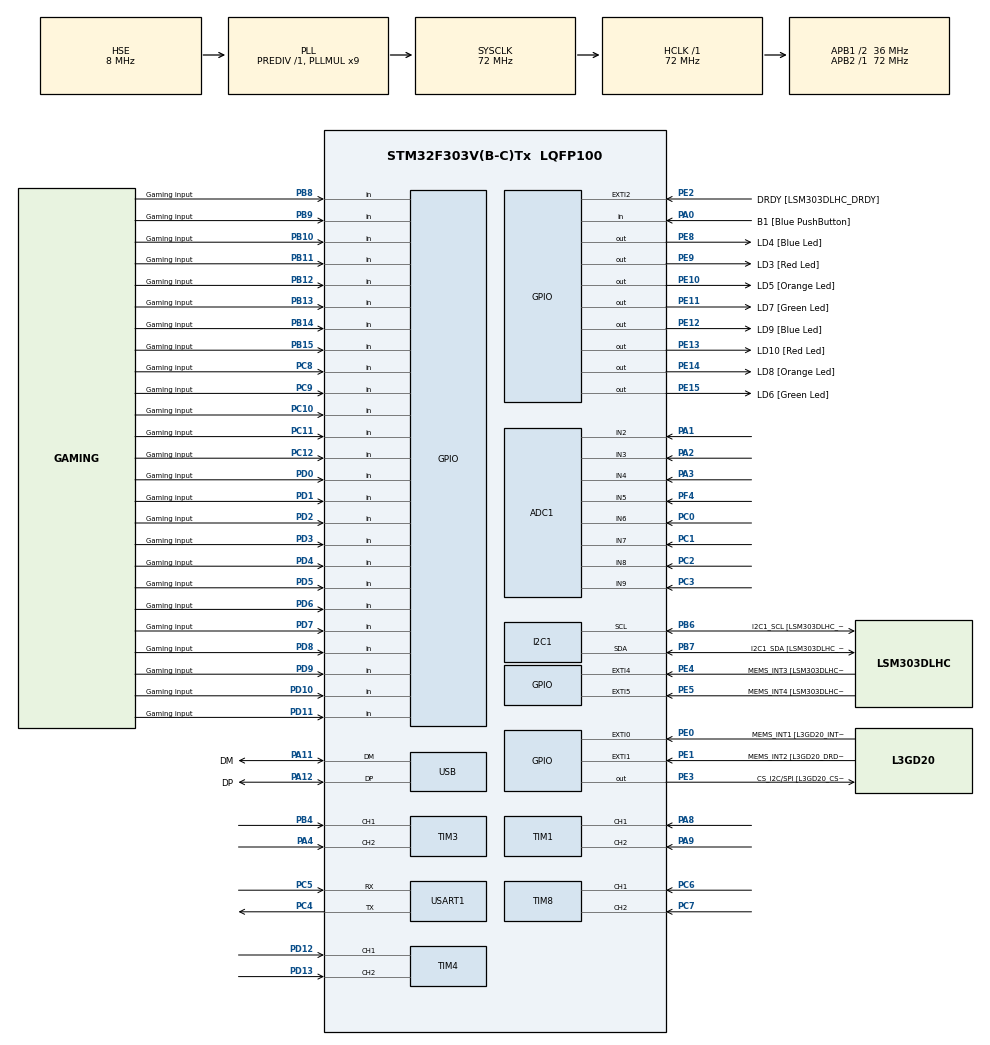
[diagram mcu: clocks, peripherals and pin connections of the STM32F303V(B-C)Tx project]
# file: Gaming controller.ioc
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ADC1.Channel-0\#ChannelRegularConversion=ADC_CHANNEL_2
ADC1.ClockPrescaler=ADC_CLOCK_ASYNC
ADC1.ContinuousConvMode=DISABLE
ADC1.DMAContinuousRequests=DISABLE
ADC1.DataAlign=ADC_DATAALIGN_RIGHT
ADC1.DiscontinuousConvMode=DISABLE
ADC1.EOCSelection=EOC_SINGLE_CONV
ADC1.EnableAnalogWatchDog1=false
ADC1.EnableAnalogWatchDog2=false
ADC1.EnableAnalogWatchDog3=false
ADC1.EnableInjectedConversion=ENABLE
ADC1.EnableRegularConversion=ENABLE
ADC1.ExternalTrigConvEdge=ADC_EXTERNALTRIGCONVEDGE_NONE
ADC1.InjNumberOfConversion=0
ADC1.LowPowerAutoWait=DISABLE
ADC1.NbrOfConversion=1
ADC1.NbrOfConversionFlag=1
ADC1.Offset-0\#ChannelRegularConversion=0
ADC1.OffsetNumber-0\#ChannelRegularConversion=ADC_OFFSET_NONE
ADC1.Overrun=OVR_DATA_OVERWRITTEN
ADC1.Rank-0\#ChannelRegularConversion=1
ADC1.Resolution=ADC_RESOLUTION12b
ADC1.SamplingTime-0\#ChannelRegularConversion=ADC_SAMPLETIME_1CYCLE_5
ADC1.ScanConvMode=ADC_SCAN_DISABLE
ADC1.master=1
Mcu.Family=STM32F3
Mcu.Name=STM32F303V(B-C)Tx
Mcu.Package=LQFP100
NVIC.PriorityGroup=NVIC_PRIORITYGROUP_0
NVIC.TIM6_DAC_IRQn=true\:0\:0\:false
NVIC.TIM7_IRQn=true\:0\:0\:false
NVIC.USB_LP_CAN_RX0_IRQn=true\:0\:0\:false
PA0.GPIO_Label=B1 [Blue PushButton]
PA0.GPIO_Mode=GPIO_MODE_INPUT
PA0.GPIO_PuPd=GPIO_NOPULL
PA0.Signal=GPIO_Input
PA1.Mode=IN2-Single-Ended
PA1.Signal=ADC1_IN2
PA11.GPIO_Label=DM
PA11.GPIO_Mode=GPIO_MODE_AF_PP
PA11.GPIO_PuPd=GPIO_NOPULL
PA11.GPIO_Speed=GPIO_SPEED_HIGH
PA11.Mode=Device
PA11.Signal=USB_DM
PA12.GPIO_Label=DP
PA12.GPIO_Mode=GPIO_MODE_AF_PP
PA12.GPIO_PuPd=GPIO_NOPULL
PA12.GPIO_Speed=GPIO_SPEED_HIGH
PA12.Mode=Device
PA12.Signal=USB_DP
PA13.GPIO_Label=SWDIO
PA13.Mode=Trace-Asynchronous_SW
PA13.Signal=SYS_JTMS-SWDIO
PA14.GPIO_Label=SWCLK
PA14.Mode=Trace-Asynchronous_SW
PA14.Signal=SYS_JTCK-SWCLK
PA2.Mode=IN3-Single-Ended
PA2.Signal=ADC1_IN3
PA3.Mode=IN4-Single-Ended
PA3.Signal=ADC1_IN4
PA4.Signal=S_TIM3_CH2
PA5.GPIO_Label=SPI1_SCK [L3GD20_SCL/SPC]
PA5.GPIO_Mode=GPIO_MODE_AF_PP
PA5.GPIO_PuPd=GPIO_NOPULL
PA5.GPIO_Speed=GPIO_SPEED_LOW
PA5.Signal=SPI1_SCK
PA6.GPIO_Label=SPI1_MISO [L3GD20_SA0/SDO]
PA6.GPIO_Mode=GPIO_MODE_AF_PP
PA6.GPIO_PuPd=GPIO_NOPULL
PA6.GPIO_Speed=GPIO_SPEED_LOW
PA6.Signal=SPI1_MISO
PA7.GPIO_Label=SPI1_MISO [L3GD20_SDA/SDI/SDO]
PA7.GPIO_Mode=GPIO_MODE_AF_PP
PA7.GPIO_PuPd=GPIO_NOPULL
PA7.GPIO_Speed=GPIO_SPEED_LOW
PA7.Signal=SPI1_MOSI
PA8.Signal=S_TIM1_CH1
PA9.Signal=S_TIM1_CH2
PB10.GPIO_Label=Gaming input
PB10.GPIO_Mode=GPIO_MODE_INPUT
PB10.GPIO_PuPd=GPIO_PULLUP
PB10.Signal=GPIO_Input
PB11.GPIO_Label=Gaming input
PB11.GPIO_Mode=GPIO_MODE_INPUT
PB11.GPIO_PuPd=GPIO_PULLUP
PB11.Signal=GPIO_Input
PB12.GPIO_Label=Gaming input
PB12.GPIO_Mode=GPIO_MODE_INPUT
PB12.GPIO_PuPd=GPIO_PULLUP
PB12.Signal=GPIO_Input
PB13.GPIO_Label=Gaming input
PB13.GPIO_Mode=GPIO_MODE_INPUT
PB13.GPIO_PuPd=GPIO_PULLUP
PB13.Signal=GPIO_Input
PB14.GPIO_Label=Gaming input
PB14.GPIO_Mode=GPIO_MODE_INPUT
PB14.GPIO_PuPd=GPIO_PULLUP
PB14.Signal=GPIO_Input
PB15.GPIO_Label=Gaming input
PB15.GPIO_Mode=GPIO_MODE_INPUT
PB15.GPIO_PuPd=GPIO_PULLUP
PB15.Signal=GPIO_Input
PB3.GPIO_Label=SWO
PB3.Mode=Trace-Asynchronous_SW
PB3.Signal=SYS_JTDO-TRACESWO
PB4.Signal=S_TIM3_CH1
PB6.GPIO_FM6=__NULL
PB6.GPIO_Label=I2C1_SCL [LSM303DLHC_SCL]
PB6.GPIO_Mode=GPIO_MODE_AF_OD
PB6.GPIO_PuPd=GPIO_NOPULL
PB6.GPIO_PuPdOD=GPIO_PULLUP
PB6.GPIO_Speed=GPIO_SPEED_LOW
PB6.Mode=I2C
PB6.Signal=I2C1_SCL
PB7.GPIO_FM7=__NULL
PB7.GPIO_Label=I2C1_SDA [LSM303DLHC_SDA]
PB7.GPIO_Mode=GPIO_MODE_AF_OD
PB7.GPIO_PuPd=GPIO_NOPULL
PB7.GPIO_PuPdOD=GPIO_PULLUP
PB7.GPIO_Speed=GPIO_SPEED_LOW
PB7.Mode=I2C
PB7.Signal=I2C1_SDA
PB8.GPIO_Label=Gaming input
PB8.GPIO_Mode=GPIO_MODE_INPUT
PB8.GPIO_PuPd=GPIO_PULLUP
PB8.Signal=GPIO_Input
PB9.GPIO_Label=Gaming input
PB9.GPIO_Mode=GPIO_MODE_INPUT
PB9.GPIO_PuPd=GPIO_PULLUP
PB9.Signal=GPIO_Input
PC0.Signal=ADCx_IN6
PC1.Signal=ADCx_IN7
PC10.GPIO_Label=Gaming input
PC10.GPIO_Mode=GPIO_MODE_INPUT
PC10.GPIO_PuPd=GPIO_PULLUP
PC10.Signal=GPIO_Input
PC11.GPIO_Label=Gaming input
PC11.GPIO_Mode=GPIO_MODE_INPUT
PC11.GPIO_PuPd=GPIO_PULLUP
PC11.Signal=GPIO_Input
PC12.GPIO_Label=Gaming input
PC12.GPIO_Mode=GPIO_MODE_INPUT
PC12.GPIO_PuPd=GPIO_PULLUP
PC12.Signal=GPIO_Input
PC14-OSC32_IN.GPIO_Label=OSC32_IN
PC14-OSC32_IN.Signal=RCC_OSC32_IN
PC15-OSC32_OUT.GPIO_Label=OSC32_OUT
PC15-OSC32_OUT.Signal=RCC_OSC32_OUT
PC2.Signal=ADCx_IN8
PC3.Signal=ADCx_IN9
PC4.Mode=Asynchronous
PC4.Signal=USART1_TX
PC5.Mode=Asynchronous
PC5.Signal=USART1_RX
PC6.Signal=S_TIM8_CH1
PC7.Signal=S_TIM8_CH2
PC8.GPIO_Label=Gaming input
PC8.GPIO_Mode=GPIO_MODE_INPUT
PC8.GPIO_PuPd=GPIO_PULLUP
PC8.Signal=GPIO_Input
PC9.GPIO_Label=Gaming input
PC9.GPIO_Mode=GPIO_MODE_INPUT
PC9.GPIO_PuPd=GPIO_PULLUP
PC9.Signal=GPIO_Input
PD0.GPIO_Label=Gaming input
PD0.GPIO_Mode=GPIO_MODE_INPUT
PD0.GPIO_PuPd=GPIO_PULLUP
PD0.Signal=GPIO_Input
PD1.GPIO_Label=Gaming input
PD1.GPIO_Mode=GPIO_MODE_INPUT
PD1.GPIO_PuPd=GPIO_PULLUP
PD1.Signal=GPIO_Input
PD10.GPIO_Label=Gaming input
PD10.GPIO_Mode=GPIO_MODE_INPUT
PD10.GPIO_PuPd=GPIO_PULLUP
PD10.Signal=GPIO_Input
PD11.GPIO_Label=Gaming input
PD11.GPIO_Mode=GPIO_MODE_INPUT
PD11.GPIO_PuPd=GPIO_PULLUP
PD11.Signal=GPIO_Input
PD12.Signal=S_TIM4_CH1
PD13.Signal=S_TIM4_CH2
PD2.GPIO_Label=Gaming input
PD2.GPIO_Mode=GPIO_MODE_INPUT
PD2.GPIO_PuPd=GPIO_PULLUP
PD2.Signal=GPIO_Input
PD3.GPIO_Label=Gaming input
PD3.GPIO_Mode=GPIO_MODE_INPUT
PD3.GPIO_PuPd=GPIO_PULLUP
PD3.Signal=GPIO_Input
PD4.GPIO_Label=Gaming input
PD4.GPIO_Mode=GPIO_MODE_INPUT
PD4.GPIO_PuPd=GPIO_PULLUP
PD4.Signal=GPIO_Input
PD5.GPIO_Label=Gaming input
PD5.GPIO_Mode=GPIO_MODE_INPUT
PD5.GPIO_PuPd=GPIO_PULLUP
PD5.Signal=GPIO_Input
PD6.GPIO_Label=Gaming input
PD6.GPIO_Mode=GPIO_MODE_INPUT
PD6.GPIO_PuPd=GPIO_PULLUP
PD6.Signal=GPIO_Input
PD7.GPIO_Label=Gaming input
PD7.GPIO_Mode=GPIO_MODE_INPUT
PD7.GPIO_PuPd=GPIO_PULLUP
PD7.Signal=GPIO_Input
PD8.GPIO_Label=Gaming input
PD8.GPIO_Mode=GPIO_MODE_INPUT
PD8.GPIO_PuPd=GPIO_PULLUP
PD8.Signal=GPIO_Input
PD9.GPIO_Label=Gaming input
PD9.GPIO_Mode=GPIO_MODE_INPUT
PD9.GPIO_PuPd=GPIO_PULLUP
PD9.Signal=GPIO_Input
PE0.GPIO_Label=MEMS_INT1 [L3GD20_INT1]
PE0.GPIO_ModeDefaultEXTI=GPIO_MODE_EVT_RISING
PE0.GPIO_PuPd=GPIO_NOPULL
PE0.Signal=GPXTI0
PE1.GPIO_Label=MEMS_INT2 [L3GD20_DRDY/INT2]
PE1.GPIO_ModeDefaultEXTI=GPIO_MODE_EVT_RISING
PE1.GPIO_PuPd=GPIO_NOPULL
PE1.Signal=GPXTI1
PE10.GPIO_Label=LD5 [Orange Led]
PE10.GPIO_ModeDefaultOutputPP=GPIO_MODE_OUTPUT_PP
PE10.GPIO_PuPd=GPIO_NOPULL
PE10.GPIO_Speed=GPIO_SPEED_LOW
PE10.Signal=GPIO_Output
PE11.GPIO_Label=LD7 [Green Led]
PE11.GPIO_ModeDefaultOutputPP=GPIO_MODE_OUTPUT_PP
PE11.GPIO_PuPd=GPIO_NOPULL
PE11.GPIO_Speed=GPIO_SPEED_LOW
PE11.Signal=GPIO_Output
PE12.GPIO_Label=LD9 [Blue Led]
PE12.GPIO_ModeDefaultOutputPP=GPIO_MODE_OUTPUT_PP
PE12.GPIO_PuPd=GPIO_NOPULL
PE12.GPIO_Speed=GPIO_SPEED_LOW
PE12.Signal=GPIO_Output
PE13.GPIO_Label=LD10 [Red Led]
PE13.GPIO_ModeDefaultOutputPP=GPIO_MODE_OUTPUT_PP
PE13.GPIO_PuPd=GPIO_NOPULL
PE13.GPIO_Speed=GPIO_SPEED_LOW
PE13.Signal=GPIO_Output
PE14.GPIO_Label=LD8 [Orange Led]
PE14.GPIO_ModeDefaultOutputPP=GPIO_MODE_OUTPUT_PP
PE14.GPIO_PuPd=GPIO_NOPULL
PE14.GPIO_Speed=GPIO_SPEED_LOW
PE14.Signal=GPIO_Output
PE15.GPIO_Label=LD6 [Green Led]
PE15.GPIO_ModeDefaultOutputPP=GPIO_MODE_OUTPUT_PP
PE15.GPIO_PuPd=GPIO_NOPULL
PE15.GPIO_Speed=GPIO_SPEED_LOW
PE15.Signal=GPIO_Output
PE2.GPIO_Label=DRDY [LSM303DLHC_DRDY]
PE2.GPIO_ModeDefaultEXTI=GPIO_MODE_EVT_RISING
PE2.GPIO_PuPd=GPIO_NOPULL
PE2.Signal=GPXTI2
PE3.GPIO_Label=CS_I2C/SPI [L3GD20_CS_I2C/SPI]
PE3.GPIO_ModeDefaultOutputPP=GPIO_MODE_OUTPUT_PP
PE3.GPIO_PuPd=GPIO_NOPULL
PE3.GPIO_Speed=GPIO_SPEED_LOW
PE3.Signal=GPIO_Output
PE4.GPIO_Label=MEMS_INT3 [LSM303DLHC_INT1]
PE4.GPIO_ModeDefaultEXTI=GPIO_MODE_EVT_RISING
PE4.GPIO_PuPd=GPIO_NOPULL
PE4.Signal=GPXTI4
PE5.GPIO_Label=MEMS_INT4 [LSM303DLHC_INT2]
PE5.GPIO_ModeDefaultEXTI=GPIO_MODE_EVT_RISING
PE5.GPIO_PuPd=GPIO_NOPULL
PE5.Signal=GPXTI5
PE8.GPIO_Label=LD4 [Blue Led]
PE8.GPIO_ModeDefaultOutputPP=GPIO_MODE_OUTPUT_PP
PE8.GPIO_PuPd=GPIO_NOPULL
PE8.GPIO_Speed=GPIO_SPEED_LOW
PE8.Signal=GPIO_Output
PE9.GPIO_Label=LD3 [Red Led]
PE9.GPIO_ModeDefaultOutputPP=GPIO_MODE_OUTPUT_PP
PE9.GPIO_PuPd=GPIO_NOPULL
PE9.GPIO_Speed=GPIO_SPEED_LOW
PE9.Signal=GPIO_Output
PF0-OSC_IN.GPIO_Label=OSC_IN
PF0-OSC_IN.Mode=HSE-External-Oscillator
PF0-OSC_IN.Signal=RCC_OSC_IN
PF1-OSC_OUT.GPIO_Label=OSC_OUT
PF1-OSC_OUT.Mode=HSE-External-Oscillator
PF1-OSC_OUT.Signal=RCC_OSC_OUT
PF4.Mode=IN5-Single-Ended
PF4.Signal=ADC1_IN5
ProjectManager.TargetToolchain=MDK-ARM V5
RCC.AHBFreq_Value=72000000
RCC.APB1CLKDivider=RCC_HCLK_DIV2
RCC.APB1Freq_Value=36000000
RCC.APB1TimFreq_Value=72000000
RCC.APB2Freq_Value=72000000
RCC.APB2TimFreq_Value=72000000
RCC.CortexFreq_Value=72000000
RCC.HCLKFreq_Value=72000000
RCC.HSE_VALUE=8000000
RCC.HSI_VALUE=8000000
RCC.LSE_VALUE=32768
RCC.PLLMUL=RCC_PLL_MUL9
RCC.PRESCALERUSB=RCC_USBPLLCLK_DIV1_5
RCC.SYSCLKFreq_VALUE=72000000
RCC.SYSCLKSourceVirtual=RCC_SYSCLKSOURCE_PLLCLK
RCC.USBFreq_Value=48000000
SH.ADCx_IN6.0=ADC1_IN6,IN6-Single-Ended
SH.ADCx_IN7.0=ADC1_IN7,IN7-Single-Ended
SH.ADCx_IN8.0=ADC1_IN8,IN8-Single-Ended
SH.ADCx_IN9.0=ADC1_IN9,IN9-Single-Ended
SH.S_TIM1_CH1.0=TIM1_CH1,Encoder_Interface
SH.S_TIM1_CH2.0=TIM1_CH2,Encoder_Interface
SH.S_TIM3_CH1.0=TIM3_CH1,Encoder_Interface
SH.S_TIM3_CH2.0=TIM3_CH2,Encoder_Interface
SH.S_TIM4_CH1.0=TIM4_CH1,Encoder_Interface
SH.S_TIM4_CH2.0=TIM4_CH2,Encoder_Interface
SH.S_TIM8_CH1.0=TIM8_CH1,Encoder_Interface
SH.S_TIM8_CH2.0=TIM8_CH2,Encoder_Interface
USB_DEVICE.USBD_HandleTypeDef=hUsbDeviceFS
USB_DEVICE.VirtualMode=Hid
USB_DEVICE.VirtualModeFS=Hid_FS
VP_TIM6_VS_ClockSourceINT.Mode=Enable_Timer
VP_TIM7_VS_ClockSourceINT.Mode=Enable_Timer
VP_USB_DEVICE_VS_USB_DEVICE_HID_FS.Mode=HID_FS
board=STM32F3DISCOVERY

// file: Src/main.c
/**
  ******************************************************************************
  * File Name          : main.c
  * Description        : Main program body
  ******************************************************************************
  *
  * COPYRIGHT(c) 2015 STMicroelectronics
  *
  * Redistribution and use in source and binary forms, with or without modification,
  * are permitted provided that the following conditions are met:
  *   1. Redistributions of source code must retain the above copyright notice,
  *      this list of conditions and the following disclaimer.
  *   2. Redistributions in binary form must reproduce the above copyright notice,
  *      this list of conditions and the following disclaimer in the documentation
  *      and/or other materials provided with the distribution.
  *   3. Neither the name of STMicroelectronics nor the names of its contributors
  *      may be used to endorse or promote products derived from this software
  *      without specific prior written permission.
  *
  * THIS SOFTWARE IS PROVIDED BY THE COPYRIGHT HOLDERS AND CONTRIBUTORS "AS IS"
  * AND ANY EXPRESS OR IMPLIED WARRANTIES, INCLUDING, BUT NOT LIMITED TO, THE
  * IMPLIED WARRANTIES OF MERCHANTABILITY AND FITNESS FOR A PARTICULAR PURPOSE ARE
  * DISCLAIMED. IN NO EVENT SHALL THE COPYRIGHT HOLDER OR CONTRIBUTORS BE LIABLE
  * FOR ANY DIRECT, INDIRECT, INCIDENTAL, SPECIAL, EXEMPLARY, OR CONSEQUENTIAL
  * DAMAGES (INCLUDING, BUT NOT LIMITED TO, PROCUREMENT OF SUBSTITUTE GOODS OR
  * SERVICES; LOSS OF USE, DATA, OR PROFITS; OR BUSINESS INTERRUPTION) HOWEVER
  * CAUSED AND ON ANY THEORY OF LIABILITY, WHETHER IN CONTRACT, STRICT LIABILITY,
  * OR TORT (INCLUDING NEGLIGENCE OR OTHERWISE) ARISING IN ANY WAY OUT OF THE USE
  * OF THIS SOFTWARE, EVEN IF ADVISED OF THE POSSIBILITY OF SUCH DAMAGE.
  *
  ******************************************************************************
  */
#include "stm32f3xx_hal.h"
#include "adc.h"
#include "i2c.h"
#include "tim.h"
#include "usart.h"
#include "usb_device.h"
#include "gpio.h"
#include "math.h"

/* USER CODE BEGIN Includes */
#include "usbd_hid.h"
#include "stm32f3_discovery_accelerometer.h"
/* USER CODE END Includes */

/* USER CODE BEGIN PV */
/* Private variables ---------------------------------------------------------*/

/* USER CODE END PV */

void SystemClock_Config(void);

/* USER CODE BEGIN PFP */
/* Private function prototypes -----------------------------------------------*/
#define M_PI 3.14159265358979323846
/* USER CODE END PFP */

/* USER CODE BEGIN 0 */

uint32_t readADC1(uint8_t channel)
{
	ADC_ChannelConfTypeDef def;
	def.Channel = channel;
	def.SamplingTime = ADC_SAMPLETIME_1CYCLE_5;
	HAL_ADC_ConfigChannel(&hadc1, &def);
  //ADC_RegularChannelConfig(ADC1, channel, 1, ADC_SampleTime_1Cycles5);
  // Start the conversion
	HAL_ADC_Start(&hadc1);
  //ADC_SoftwareStartConvCmd(ADC1, ENABLE);
  // Wait until conversion completion
  //while(ADC_GetFlagStatus(ADC1, ADC_FLAG_EOC) == RESET);
	while(HAL_ADC_GetState(&hadc1) == HAL_ADC_STATE_RESET);
  // Get the conversion value
  //return ADC_GetConversionValue(ADC1);
	return HAL_ADC_GetValue(&hadc1);
}
/* USER CODE END 0 */

int main(void)
{

  /* MCU Configuration----------------------------------------------------------*/

  /* Reset of all peripherals, Initializes the Flash interface and the Systick. */
  HAL_Init();

  /* Configure the system clock */
  SystemClock_Config();

  /* Initialize all configured peripherals */
  MX_GPIO_Init();
  MX_ADC1_Init();
  MX_I2C1_Init();
  MX_TIM1_Init();
  MX_TIM3_Init();
  MX_TIM4_Init();
  MX_TIM6_Init();
  MX_TIM7_Init();
  MX_TIM8_Init();
  MX_USART1_UART_Init();
  MX_USB_DEVICE_Init();

  /* USER CODE BEGIN 2 */
	uint8_t HIDBuffer[8];
	HAL_ADC_Start(&hadc1);
	BSP_ACCELERO_Init();
	int16_t accData[3];
	int i = 0;
  /* USER CODE END 2 */

  /* Infinite loop */
  while (1)
  {
  /* USER CODE BEGIN 3 */

		BSP_ACCELERO_Reset();
		BSP_ACCELERO_GetXYZ(accData);

		uint32_t ad = readADC1(ADC_CHANNEL_2);
		uint32_t ad2 = readADC1(ADC_CHANNEL_3);
		//HIDBuffer[2] = (uint8_t) accData[2]>>8;
		HIDBuffer[0] = ~(GPIOD->IDR&0x00FF);
		HIDBuffer[1] = ~(((GPIOD->IDR&0x0F00)|(GPIOB->IDR&0xF000))>>8);

		float x = (float)accData[0];
		float y = (float)accData[1];
		float z = (float)accData[2];

		float roll = atan(-x/y)/M_PI;
		float pitch = atan(-z/sqrt((x*x)+(y*y)))/M_PI;

		HIDBuffer[2] = (uint8_t) ((roll+1.0f)*255.99f);
		HIDBuffer[3] = (uint8_t) ((pitch+1.0f)*255.99f);
		HIDBuffer[4] = (uint8_t) (((uint8_t)(ad>>4))-0x7f);
		HIDBuffer[5] = (uint8_t) (((uint8_t)(ad2>>4))-0x7f);
		USBD_HID_SendReport(&hUsbDeviceFS, HIDBuffer, 8);
		HAL_Delay(16);
		i++;
		i = i%8;

		BSP_LED_Toggle(i);

  }
  /* USER CODE END 3 */

}

/** System Clock Configuration
*/
void SystemClock_Config(void)
{

  RCC_OscInitTypeDef RCC_OscInitStruct;
  RCC_ClkInitTypeDef RCC_ClkInitStruct;
  RCC_PeriphCLKInitTypeDef PeriphClkInit;

  RCC_OscInitStruct.OscillatorType = RCC_OSCILLATORTYPE_HSI|RCC_OSCILLATORTYPE_HSE;
  RCC_OscInitStruct.HSEState = RCC_HSE_ON;
  RCC_OscInitStruct.HSEPredivValue = RCC_HSE_PREDIV_DIV1;
  RCC_OscInitStruct.HSIState = RCC_HSI_ON;
  RCC_OscInitStruct.HSICalibrationValue = 16;
  RCC_OscInitStruct.PLL.PLLState = RCC_PLL_ON;
  RCC_OscInitStruct.PLL.PLLSource = RCC_PLLSOURCE_HSE;
  RCC_OscInitStruct.PLL.PLLMUL = RCC_PLL_MUL9;
  HAL_RCC_OscConfig(&RCC_OscInitStruct);

  RCC_ClkInitStruct.ClockType = RCC_CLOCKTYPE_SYSCLK|RCC_CLOCKTYPE_PCLK1;
  RCC_ClkInitStruct.SYSCLKSource = RCC_SYSCLKSOURCE_PLLCLK;
  RCC_ClkInitStruct.AHBCLKDivider = RCC_SYSCLK_DIV1;
  RCC_ClkInitStruct.APB1CLKDivider = RCC_HCLK_DIV2;
  RCC_ClkInitStruct.APB2CLKDivider = RCC_HCLK_DIV1;
  HAL_RCC_ClockConfig(&RCC_ClkInitStruct, FLASH_LATENCY_2);

  PeriphClkInit.PeriphClockSelection = RCC_PERIPHCLK_USB|RCC_PERIPHCLK_USART1
                              |RCC_PERIPHCLK_I2C1|RCC_PERIPHCLK_TIM1
                              |RCC_PERIPHCLK_TIM8|RCC_PERIPHCLK_ADC12;
  PeriphClkInit.Usart1ClockSelection = RCC_USART1CLKSOURCE_PCLK2;
  PeriphClkInit.Adc12ClockSelection = RCC_ADC12PLLCLK_DIV1;
  PeriphClkInit.I2c1ClockSelection = RCC_I2C1CLKSOURCE_HSI;
  PeriphClkInit.USBClockSelection = RCC_USBPLLCLK_DIV1_5;
  PeriphClkInit.Tim1ClockSelection = RCC_TIM1CLK_HCLK;
  PeriphClkInit.Tim8ClockSelection = RCC_TIM8CLK_HCLK;
  HAL_RCCEx_PeriphCLKConfig(&PeriphClkInit);

  HAL_SYSTICK_Config(HAL_RCC_GetHCLKFreq()/1000);

  HAL_SYSTICK_CLKSourceConfig(SYSTICK_CLKSOURCE_HCLK);

  /* SysTick_IRQn interrupt configuration */
  HAL_NVIC_SetPriority(SysTick_IRQn, 0, 0);
}

/************************ (C) COPYRIGHT STMicroelectronics *****END OF FILE****/
